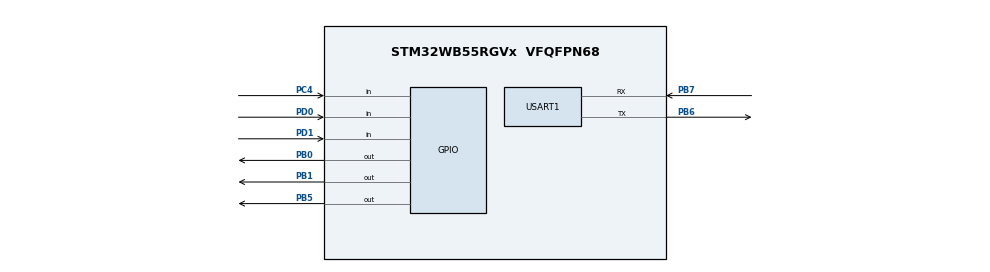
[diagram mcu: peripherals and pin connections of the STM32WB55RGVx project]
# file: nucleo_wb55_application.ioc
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Mcu.Family=STM32WB
Mcu.Name=STM32WB55RGVx
Mcu.Package=VFQFPN68
NUCLEO-WB55RG.BUTTON=1
NUCLEO-WB55RG.BUTTON2=1
NUCLEO-WB55RG.BUTTON3=1
NUCLEO-WB55RG.Bsp_Common_DEMO=true
NUCLEO-WB55RG.LD1=true
NUCLEO-WB55RG.LD2=true
NUCLEO-WB55RG.LD3=true
NVIC.PriorityGroup=NVIC_PRIORITYGROUP_4
OSC_IN.GPIO_Label=RCC_OSC_IN
OSC_IN.Signal=RCC_OSC_IN
OSC_OUT.GPIO_Label=RCC_OSC_OUT
OSC_OUT.Signal=RCC_OSC_OUT
PA11.GPIO_Label=USB_DM
PA11.Signal=USB_DM
PA12.GPIO_Label=USB_DP
PA12.Signal=USB_DP
PA13.GPIO_Label=JTMS
PA13.Signal=SYS_JTMS-SWDIO
PA14.GPIO_Label=JTCK
PA14.Signal=SYS_JTCK-SWCLK
PB0.Signal=GPIO_Output
PB1.Signal=GPIO_Output
PB3.GPIO_Label=JTDO
PB3.Signal=SYS_JTDO-SWO
PB5.Signal=GPIO_Output
PB6.Mode=Asynchronous
PB6.Signal=USART1_TX
PB7.Mode=Asynchronous
PB7.Signal=USART1_RX
PC13.GPIO_Label=SYS_WKUP2
PC13.Signal=SYS_WKUP2
PC14-OSC32_IN.GPIO_Label=RCC_OSC32_IN
PC14-OSC32_IN.Signal=RCC_OSC32_IN
PC15-OSC32_OUT.GPIO_Label=RCC_OSC32_OUT
PC15-OSC32_OUT.Signal=RCC_OSC32_OUT
PC4.Signal=GPIO_Input
PD0.Signal=GPIO_Input
PD1.Signal=GPIO_Input
ProjectManager.HeapSize=0x200
ProjectManager.StackSize=0x400
ProjectManager.TargetToolchain=STM32CubeIDE
RCC.ADCFreq_Value=128000000
RCC.AHBFreq_Value=32000000
RCC.APB1Freq_Value=32000000
RCC.APB1TimFreq_Value=32000000
RCC.APB2Freq_Value=32000000
RCC.APB2TimFreq_Value=32000000
RCC.APB3Freq_Value=16000000
RCC.CortexFreq_Value=32000000
RCC.HCLKFreq_Value=32000000
RCC.HSE_VALUE=32000000
RCC.HSI48_VALUE=48000000
RCC.HSI_VALUE=16000000
RCC.LSE_VALUE=32768
RCC.MSIClockRange=RCC_MSIRANGE_10
RCC.SMPSCLockSelection=RCC_SMPSCLKSOURCE_HSI
RCC.SMPSCLockSelectionVirtual=RCC_SMPSCLKSOURCE_HSI
RCC.SMPSCLockSelectionVirtualVirtual=RCC_SMPSCLKSOURCE_HSI
RCC.SMPSDivider=1
RCC.SYSCLKFreq_VALUE=32000000
RCC.USBFreq_Value=128000000
RCC.VCOOutputFreq_Value=256000000
USART1.VirtualMode-Asynchronous=VM_ASYNC
VP_MEMORYMAP_VS_MEMORYMAP.Mode=CurAppReg
VP_NUCLEO-WB55RG_VS_BSP_COMMON.Mode=COMMON
board=NUCLEO-WB55RG

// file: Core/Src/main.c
/* USER CODE BEGIN Header */
/**
  ******************************************************************************
  * @file           : main.c
  * @brief          : Main program body
  ******************************************************************************
  * @attention
  *
  * Copyright (c) 2025 STMicroelectronics.
  * All rights reserved.
  *
  * This software is licensed under terms that can be found in the LICENSE file
  * in the root directory of this software component.
  * If no LICENSE file comes with this software, it is provided AS-IS.
  *
  ******************************************************************************
  */
/* USER CODE END Header */
#include "main.h"

/* USER CODE BEGIN Includes */
#include<stdio.h>

/* USER CODE END Includes */

/* USER CODE BEGIN PM */
#define MAJOR 0   //APP Major version Number
#define MINOR 3   //APP Minor version Number
/* USER CODE END PM */

static uint32_t delay = 1000;
UART_HandleTypeDef huart1;

/* USER CODE BEGIN PV */
const uint8_t APP_Version[2] = { MAJOR, MINOR };
/* USER CODE END PV */

void SystemClock_Config(void);
void PeriphCommonClock_Config(void);
static void MX_GPIO_Init(void);
static void MX_USART1_UART_Init(void);

int main(void)
{

  /* MCU Configuration--------------------------------------------------------*/

  /* Reset of all peripherals, Initializes the Flash interface and the Systick. */
  HAL_Init();

  /* Configure the system clock */
  SystemClock_Config();

  /* Configure the peripherals common clocks */
  PeriphCommonClock_Config();

  /* Initialize all configured peripherals */
  MX_GPIO_Init();
  MX_USART1_UART_Init();

  /* Initialize leds */
  BSP_LED_Init(LED_BLUE);
  BSP_LED_Init(LED_GREEN);
  BSP_LED_Init(LED_RED);

  /* Initialize USER push-button, will be used to trigger an interrupt each time it's pressed.*/
  BSP_PB_Init(BUTTON_SW1, BUTTON_MODE_EXTI);
  BSP_PB_Init(BUTTON_SW2, BUTTON_MODE_EXTI);
  BSP_PB_Init(BUTTON_SW3, BUTTON_MODE_EXTI);

  /* USER CODE BEGIN BSP */

  /* -- Sample board code to switch on leds ---- */
  BSP_LED_On(LED_BLUE);
  BSP_LED_On(LED_GREEN);
  BSP_LED_On(LED_RED);
  printf("Starting Application(%d.%d)\r\n", APP_Version[0], APP_Version[1] );

  /* USER CODE END BSP */

  /* Infinite loop */
  /* USER CODE BEGIN WHILE */
  while (1)
  {

    /* -- Sample board code for User push-button in interrupt mode ---- */
	printf("Salaam from the App. Labas Alik ?\r\n");
    BSP_LED_On(LED_BLUE);
    BSP_LED_Off(LED_GREEN);
    HAL_Delay(delay);
    BSP_LED_Off(LED_BLUE);
    BSP_LED_On(LED_GREEN);
    HAL_Delay(delay);
    /* USER CODE END WHILE */

  }
}

void SystemClock_Config(void)
{
  RCC_OscInitTypeDef RCC_OscInitStruct = {0};
  RCC_ClkInitTypeDef RCC_ClkInitStruct = {0};

  /** Configure the main internal regulator output voltage
  */
  __HAL_PWR_VOLTAGESCALING_CONFIG(PWR_REGULATOR_VOLTAGE_SCALE1);

  /** Initializes the RCC Oscillators according to the specified parameters
  * in the RCC_OscInitTypeDef structure.
  */
  RCC_OscInitStruct.OscillatorType = RCC_OSCILLATORTYPE_HSI|RCC_OSCILLATORTYPE_MSI;
  RCC_OscInitStruct.HSIState = RCC_HSI_ON;
  RCC_OscInitStruct.MSIState = RCC_MSI_ON;
  RCC_OscInitStruct.HSICalibrationValue = RCC_HSICALIBRATION_DEFAULT;
  RCC_OscInitStruct.MSICalibrationValue = RCC_MSICALIBRATION_DEFAULT;
  RCC_OscInitStruct.MSIClockRange = RCC_MSIRANGE_10;
  RCC_OscInitStruct.PLL.PLLState = RCC_PLL_NONE;
  if (HAL_RCC_OscConfig(&RCC_OscInitStruct) != HAL_OK)
  {
    Error_Handler();
  }

  /** Configure the SYSCLKSource, HCLK, PCLK1 and PCLK2 clocks dividers
  */
  RCC_ClkInitStruct.ClockType = RCC_CLOCKTYPE_HCLK4|RCC_CLOCKTYPE_HCLK2
                              |RCC_CLOCKTYPE_HCLK|RCC_CLOCKTYPE_SYSCLK
                              |RCC_CLOCKTYPE_PCLK1|RCC_CLOCKTYPE_PCLK2;
  RCC_ClkInitStruct.SYSCLKSource = RCC_SYSCLKSOURCE_MSI;
  RCC_ClkInitStruct.AHBCLKDivider = RCC_SYSCLK_DIV1;
  RCC_ClkInitStruct.APB1CLKDivider = RCC_HCLK_DIV1;
  RCC_ClkInitStruct.APB2CLKDivider = RCC_HCLK_DIV1;
  RCC_ClkInitStruct.AHBCLK2Divider = RCC_SYSCLK_DIV1;
  RCC_ClkInitStruct.AHBCLK4Divider = RCC_SYSCLK_DIV1;

  if (HAL_RCC_ClockConfig(&RCC_ClkInitStruct, FLASH_LATENCY_1) != HAL_OK)
  {
    Error_Handler();
  }
}

void PeriphCommonClock_Config(void)
{
  RCC_PeriphCLKInitTypeDef PeriphClkInitStruct = {0};

  /** Initializes the peripherals clock
  */
  PeriphClkInitStruct.PeriphClockSelection = RCC_PERIPHCLK_SMPS;
  PeriphClkInitStruct.SmpsClockSelection = RCC_SMPSCLKSOURCE_HSI;
  PeriphClkInitStruct.SmpsDivSelection = RCC_SMPSCLKDIV_RANGE0;

  if (HAL_RCCEx_PeriphCLKConfig(&PeriphClkInitStruct) != HAL_OK)
  {
    Error_Handler();
  }
}

static void MX_USART1_UART_Init(void)
{

  huart1.Instance = USART1;
  huart1.Init.BaudRate = 115200;
  huart1.Init.WordLength = UART_WORDLENGTH_8B;
  huart1.Init.StopBits = UART_STOPBITS_1;
  huart1.Init.Parity = UART_PARITY_NONE;
  huart1.Init.Mode = UART_MODE_TX_RX;
  huart1.Init.HwFlowCtl = UART_HWCONTROL_NONE;
  huart1.Init.OverSampling = UART_OVERSAMPLING_16;
  huart1.Init.OneBitSampling = UART_ONE_BIT_SAMPLE_DISABLE;
  huart1.Init.ClockPrescaler = UART_PRESCALER_DIV1;
  huart1.AdvancedInit.AdvFeatureInit = UART_ADVFEATURE_NO_INIT;
  if (HAL_UART_Init(&huart1) != HAL_OK)
  {
    Error_Handler();
  }
  if (HAL_UARTEx_SetTxFifoThreshold(&huart1, UART_TXFIFO_THRESHOLD_1_8) != HAL_OK)
  {
    Error_Handler();
  }
  if (HAL_UARTEx_SetRxFifoThreshold(&huart1, UART_RXFIFO_THRESHOLD_1_8) != HAL_OK)
  {
    Error_Handler();
  }
  if (HAL_UARTEx_DisableFifoMode(&huart1) != HAL_OK)
  {
    Error_Handler();
  }

}

static void MX_GPIO_Init(void)
{
  GPIO_InitTypeDef GPIO_InitStruct = {0};

  /* GPIO Ports Clock Enable */
  __HAL_RCC_GPIOC_CLK_ENABLE();
  __HAL_RCC_GPIOA_CLK_ENABLE();
  __HAL_RCC_GPIOB_CLK_ENABLE();

  /*Configure GPIO pins : USB_DM_Pin USB_DP_Pin */
  GPIO_InitStruct.Pin = USB_DM_Pin|USB_DP_Pin;
  GPIO_InitStruct.Mode = GPIO_MODE_AF_PP;
  GPIO_InitStruct.Pull = GPIO_NOPULL;
  GPIO_InitStruct.Speed = GPIO_SPEED_FREQ_LOW;
  GPIO_InitStruct.Alternate = GPIO_AF10_USB;
  HAL_GPIO_Init(GPIOA, &GPIO_InitStruct);

}

/* USER CODE BEGIN 4 */
#ifdef __GNUC__
  /* With GCC, small printf (option LD Linker->Libraries->Small printf
     set to 'Yes') calls __io_putchar() */
int __io_putchar(int ch)
#else
int fputc(int ch, FILE *f)
#endif /* __GNUC__ */
{
  /* Place your implementation of fputc here */
  /* e.g. write a character to the UART3 and Loop until the end of transmission */
  HAL_UART_Transmit(&huart1, (uint8_t *)&ch, 1, HAL_MAX_DELAY);
  return ch;
}

/* USER CODE END 4 */

/**
  * @brief EXTI line detection callback.
  * @param GPIO_Pin: Specifies the pins connected EXTI line
  * @retval None
  */
void HAL_GPIO_EXTI_Callback(uint16_t GPIO_Pin)
{
  switch(GPIO_Pin)
  {
    case BUTTON_SW1_PIN:
      /* Change the period to 100 ms */
      delay = 100;
      break;
    case BUTTON_SW2_PIN:
      /* Change the period to 500 ms */
      delay = 500;
      break;
    case BUTTON_SW3_PIN:
      /* Change the period to 1000 ms */
      delay = 1000;
      break;
    default:
      break;
  }
}

void Error_Handler(void)
{
  __disable_irq();
  while (1)
  {
  }
}
